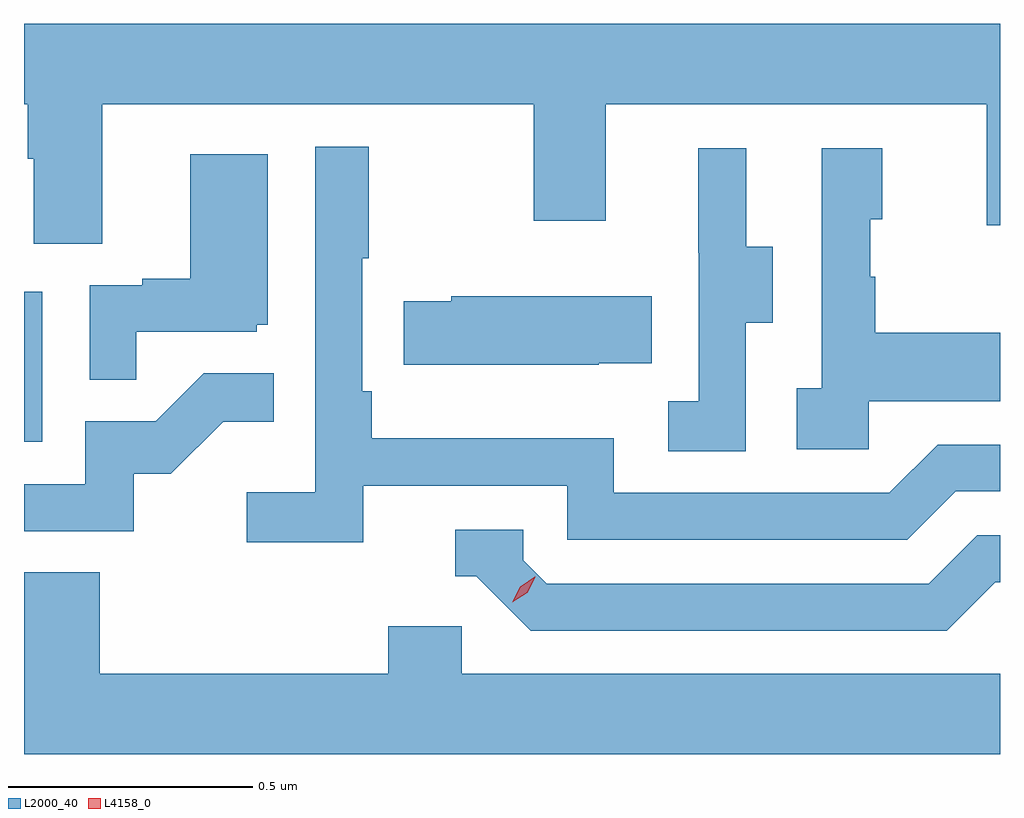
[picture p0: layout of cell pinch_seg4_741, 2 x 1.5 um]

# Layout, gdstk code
import gdstk
lib = gdstk.Library(unit=1e-6, precision=1e-09)
def R(c, l, rs):  # rectangles x0, y0, x1, y1
    for r in rs: c.add(gdstk.rectangle(r[:2], r[2:], *l))
def P(c, l, *ps):  # polygons
    for p in ps: c.add(gdstk.Polygon(p, *l))
L2000_40 = (2000, 40)
L4158_0 = (4158, 0)

pinch_seg4_741 = lib.new_cell('pinch_seg4_741')
R(pinch_seg4_741, L2000_40, [(850.095,826.764,850.132,827.071)])
P(pinch_seg4_741, L2000_40, [(850.255,827.456),(851.14,827.456),(851.14,827.217),(851.287,827.217),(851.287,827.456),(852.068,827.456),(852.068,827.208),(852.095,827.208),(852.095,827.62),(850.095,827.62),(850.095,827.456),(850.103,827.456),(850.103,827.344),(850.115,827.344),(850.115,827.17),(850.255,827.17)],
  [(850.79,826.674),(851.208,826.674),(851.208,826.563),(851.905,826.563),(852.004,826.662),(852.095,826.662),(852.095,826.758),(851.967,826.758),(851.868,826.659),(851.304,826.659),(851.304,826.771),(850.808,826.771),(850.808,826.867),(850.788,826.867),(850.788,827.14),(850.801,827.14),(850.801,827.368),(850.692,827.368),(850.692,826.66),(850.551,826.66),(850.551,826.558),(850.79,826.558)],
  [(851.826,826.847),(852.095,826.847),(852.095,826.987),(851.839,826.987),(851.839,827.102),(851.829,827.102),(851.829,827.22),(851.854,827.22),(851.854,827.365),(851.73,827.365),(851.73,826.874),(851.679,826.874),(851.679,826.749),(851.826,826.749)],
  [(851.574,827.008),(851.629,827.008),(851.629,827.163),(851.575,827.163),(851.575,827.365),(851.477,827.365),(851.477,827.151),(851.478,827.151),(851.478,826.847),(851.415,826.847),(851.415,826.744),(851.574,826.744)],
  [(850.325,826.989),(850.572,826.989),(850.572,827.004),(850.594,827.004),(850.594,827.353),(850.436,827.353),(850.436,827.098),(850.337,827.098),(850.337,827.085),(850.23,827.085),(850.23,826.891),(850.325,826.891)],
  [(851.273,826.925),(851.381,826.925),(851.381,827.062),(850.971,827.062),(850.971,827.052),(850.873,827.052),(850.873,826.922),(851.273,826.922)],
  [(850.32,826.698),(850.396,826.698),(850.503,826.805),(850.607,826.805),(850.607,826.904),(850.463,826.904),(850.365,826.806),(850.221,826.806),(850.221,826.677),(850.095,826.677),(850.095,826.581),(850.32,826.581)],
  [(852.085,826.476),(852.095,826.476),(852.095,826.572),(852.048,826.572),(851.949,826.473),(851.166,826.473),(851.118,826.521),(851.118,826.584),(850.979,826.584),(850.979,826.488),(851.022,826.488),(851.133,826.377),(851.986,826.377)],
  [(852.095,826.288),(850.992,826.288),(850.992,826.386),(850.841,826.386),(850.841,826.288),(850.25,826.288),(850.25,826.496),(850.095,826.496),(850.095,826.124),(852.095,826.124)])
P(pinch_seg4_741, L4158_0, [(851.095,826.435),(851.095,826.435),(851.112,826.467),(851.142,826.487),(851.143,826.487),(851.143,826.486),(851.126,826.454),(851.096,826.435)])

lib.write_gds('pinch_seg4_741.gds')
